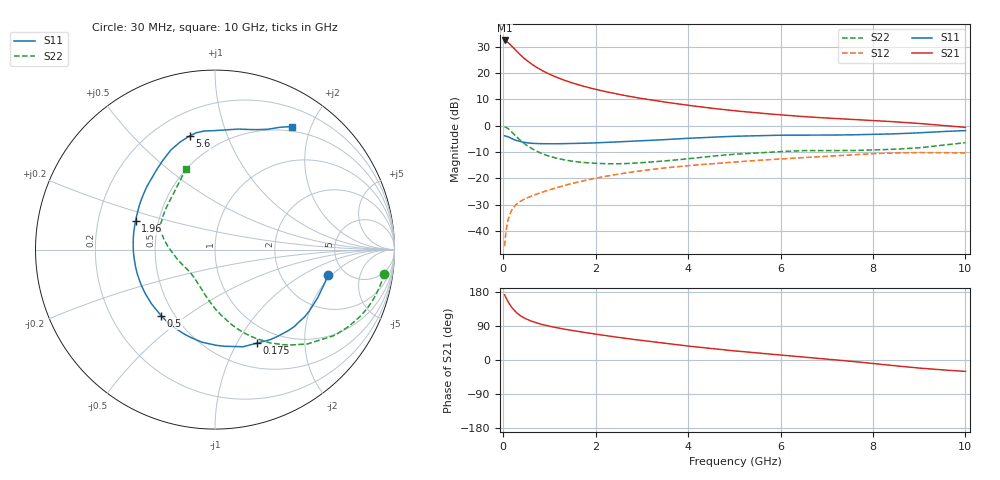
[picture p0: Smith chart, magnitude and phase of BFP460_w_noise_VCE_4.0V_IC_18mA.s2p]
! (c) 2016  Infineon Technologies AG, Munich
! Infineon Technologies  Discrete & RF Semiconductors
! BFP460
! VCE =  4.0 V,  IC =  18 mA
! Common Emitter S-Parameters:  Jan 2016
# GHz  S  MA  R  50
!  f  S11  S21  S12  S22
! GHz  MAG  ANG  MAG  ANG  MAG  ANG  MAG  ANG
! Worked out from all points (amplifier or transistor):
!   229 points, 30 MHz to 10 GHz, reference 50 ohm
!   highest |S21| = 32.4 dB at 30 MHz (marker M1)
!   |S21| within 3 dB of that: start of sweep to 231.5 MHz
!   unconditionally stable (mu >= 1): 1.917 GHz to 7.669 GHz
!   at 280 MHz: K = 0.39, MSG = 29.3 dB, |S12| = -30.0 dB
!   at 1.78 GHz: K = 0.99, MSG = 17.8 dB, |S12| = -20.8 dB
!   at 10 GHz: K = 0.97, MSG = 4.9 dB, |S12| = -10.3 dB
!   lowest NFmin = 1.13 dB at 900 MHz
!   S11 on the Smith chart (normalised r, x): 30 MHz: 3.70, -1.76; 175 MHz: 0.78, -1.21; 500 MHz: 0.42, -0.40; 1.96 GHz: 0.37, +0.15; 5.6 GHz: 0.34, +0.74; 10 GHz: 0.44, +1.72
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0.03  0.6424 -12.6  41.88 171.7  0.0051 80.7  0.9509 -8.1
0.07  0.6273 -29.4  40.27 161.5  0.0111 75.2  0.921 -18.3
0.09  0.6239 -37.2  39.1 157.1  0.014 73.0  0.8978 -23.3
0.14  0.5944 -55.1  35.89 146.7  0.0203 66.7  0.8272 -34.5
0.175  0.5708 -66.1  33.31 140.8  0.0237 63.0  0.7714 -40.8
0.2  0.5633 -73.9  31.72 136.4  0.0261 60.8  0.7357 -45.6
0.24  0.5412 -84.3  29.11 130.8  0.029 58.0  0.678 -51.6
0.3  0.521 -98.1  25.67 123.6  0.0328 54.9  0.6013 -59.7
0.4  0.4924 -115.8  21.07 114.6  0.0376 52.2  0.501 -69.8
0.5  0.4754 -129.1  17.69 108.1  0.0417 51.1  0.428 -77.5
0.6  0.4652 -139.6  15.17 102.9  0.0454 51.1  0.3747 -83.7
0.7  0.4592 -148.1  13.24 98.6  0.0491 51.3  0.3347 -89.1
0.9  0.4543 -161.2  10.54 91.9  0.0565 52.2  0.2806 -97.7
1.24  0.454 -176.9  7.8 83.3  0.0696 53.3  0.2314 -109.1
1.7  0.4633 167.6  5.755 73.8  0.0881 53.1  0.2013 -121.4
1.96  0.4703 160.3  5.019 69.0  0.0986 52.3  0.1932 -127.7
3.4  0.5376 129.9  2.901 45.6  0.1537 43.3  0.2104 -162.2
5.1  0.6323 107.2  1.888 23.1  0.206 31.5  0.2894 168.8
5.6  0.6487 102.5  1.72 17.5  0.2216 28.1  0.3063 164.1
6.8  0.6625 92.4  1.434 4.5  0.2554 19.7  0.3358 156.9
8.4  0.6975 73.5  1.198 -14.2  0.3021 6.0  0.3551 141.0
10  0.8074 58.1  0.931 -30.1  0.3041 -6.5  0.4762 109.9
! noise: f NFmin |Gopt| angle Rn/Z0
0.45  1.21  0.04  164  0.13
0.9  1.13  0.18  150  0.14
1.9  1.33  0.16  -152  0.12
3.5  1.29  0.41  -126  0.14
